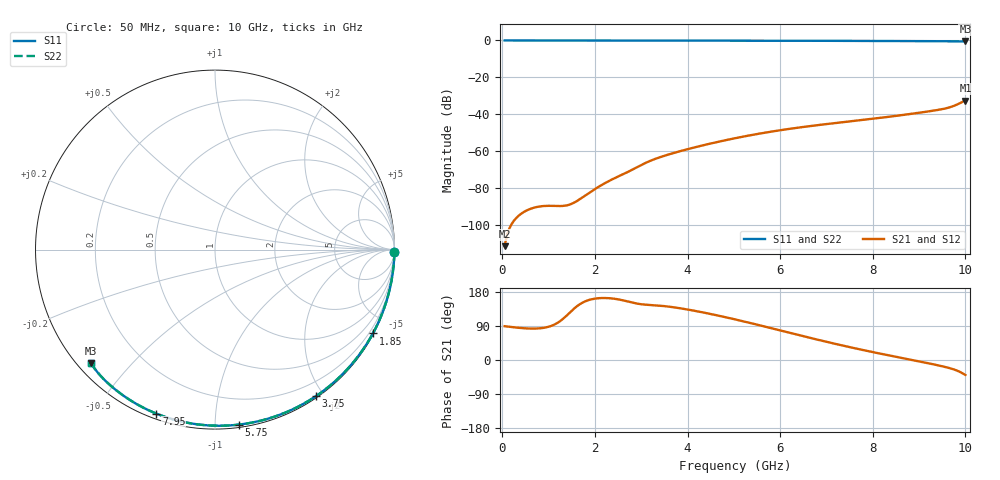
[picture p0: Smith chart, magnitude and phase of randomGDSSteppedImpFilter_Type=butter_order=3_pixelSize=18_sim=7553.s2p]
! freq	dB(S11)	phase(S11)	dB(S12)	phase(S12)
!  dB(S21)	phase(S21)	dB(S22)	phase(S22)
!S-par simulation data
#  GHz  S  DB  R 50
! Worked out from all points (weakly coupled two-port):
!   200 points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, 50 MHz to 10 GHz, reference 50 ohm
!   highest |S21| = -32.53 dB at 10 GHz (marker M1); lowest = -111.4 dB at 50 MHz (marker M2)
!   lowest |S11| = -0.6 dB at 10 GHz (marker M3), VSWR 30.78, Z = 1.87 - j19.4 ohm
!   |S11| at or under -10 dB: nowhere
!   |S22| runs from -0.6 to 0.0 dB; largest |S21 - S12| = 0
!   S11 on the Smith chart (normalised r, x): 50 MHz: open; 1.85 GHz: 0.04, -4.02; 3.75 GHz: 0.02, -1.91; 5.75 GHz: 0.02, -1.15; 7.95 GHz: 0.02, -0.70; 10 GHz: 0.04, -0.39
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0.05  -0.00 -0.8  -111.42 89.2  -111.42 89.2  -0.00 -0.8
0.9  -0.02 -13.7  -89.66 85.0  -89.66 85.0  -0.02 -13.7
1.75  -0.03 -26.5  -84.69 152.5  -84.69 152.5  -0.03 -26.5
1.85  -0.04 -28.0  -82.97 157.6  -82.97 157.6  -0.04 -28.0
2  -0.04 -30.2  -80.49 162.0  -80.49 162.0  -0.04 -30.2
2.05  -0.04 -30.9  -79.71 162.7  -79.71 162.7  -0.04 -30.9
2.35  -0.05 -35.3  -75.53 162.6  -75.53 162.6  -0.05 -35.3
3.05  -0.06 -45.5  -66.85 146.5  -66.85 146.5  -0.06 -45.5
3.2  -0.06 -47.6  -65.15 145.1  -65.15 145.1  -0.06 -47.6
3.4  -0.07 -50.4  -63.28 143.4  -63.28 143.4  -0.07 -50.4
3.75  -0.07 -55.3  -60.60 138.2  -60.60 138.2  -0.07 -55.3
4.35  -0.09 -63.6  -56.70 125.1  -56.70 125.1  -0.09 -63.6
5.05  -0.11 -73.0  -52.83 106.5  -52.83 106.5  -0.11 -73.0
5.75  -0.14 -82.2  -49.63 85.8  -49.63 85.8  -0.14 -82.2
6.7  -0.18 -94.2  -46.21 56.8  -46.21 56.8  -0.18 -94.2
7.3  -0.22 -101.7  -44.42 39.5  -44.42 39.5  -0.22 -101.7
7.95  -0.26 -109.7  -42.55 22.1  -42.55 22.1  -0.26 -109.7
8.35  -0.29 -114.6  -41.33 12.1  -41.33 12.1  -0.29 -114.6
9.2  -0.38 -125.2  -38.44 -8.5  -38.44 -8.5  -0.38 -125.2
9.55  -0.42 -130.0  -36.94 -18.0  -36.94 -18.0  -0.42 -130.0
9.75  -0.47 -133.0  -35.44 -24.8  -35.44 -24.8  -0.47 -133.0
10  -0.56 -137.5  -32.53 -39.6  -32.53 -39.6  -0.57 -137.5
